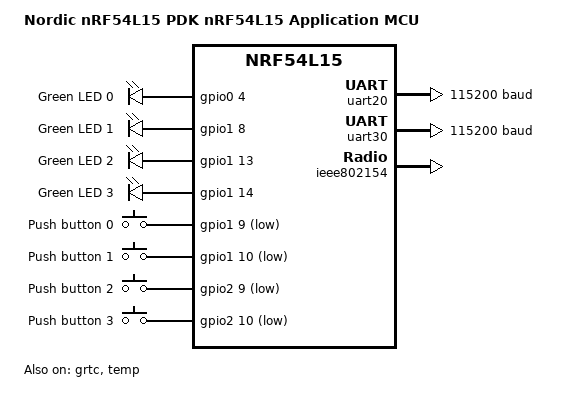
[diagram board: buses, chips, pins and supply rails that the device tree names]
/*
 * Copyright (c) 2024 Nordic Semiconductor ASA
 *
 * SPDX-License-Identifier: Apache-2.0
 */

/dts-v1/;
#include <zephyr/dt-bindings/input/input-event-codes.h>
#include <nordic/nrf54l15_cpuapp.dtsi>
#include "nrf54l15pdk_nrf54l15-pinctrl.dtsi"

/ {
	compatible = "nordic,nrf54l15pdk_nrf54l15-cpuapp";
	model = "Nordic nRF54L15 PDK nRF54L15 Application MCU";

	chosen {
		zephyr,console = &uart20;
		zephyr,shell-uart = &uart20;
		zephyr,uart-mcumgr = &uart20;
		zephyr,flash-controller = &rram_controller;
		zephyr,flash = &cpuapp_rram;
		zephyr,code-partition = &slot0_partition;
		zephyr,sram = &cpuapp_sram;
		zephyr,ieee802154 = &ieee802154;
	};

	aliases {
		led0 = &led0;
		led1 = &led1;
		led2 = &led2;
		led3 = &led3;
		watchdog0 = &wdt30;
		sw0 = &button0;
		sw1 = &button1;
		sw2 = &button2;
		sw3 = &button3;
	};

	leds {
		compatible = "gpio-leds";
		led0: led_0 {
			gpios = <&gpio0 4 GPIO_ACTIVE_HIGH>;
			label = "Green LED 0";
		};
		led1: led_1 {
			gpios = <&gpio1 8 GPIO_ACTIVE_HIGH>;
			label = "Green LED 1";
		};
		led2: led_2 {
			gpios = <&gpio1 13 GPIO_ACTIVE_HIGH>;
			label = "Green LED 2";
		};
		led3: led_3 {
			gpios = <&gpio1 14 GPIO_ACTIVE_HIGH>;
			label = "Green LED 3";
		};
	};

	buttons {
		compatible = "gpio-keys";
		button0: button_0 {
			gpios = <&gpio1 9 (GPIO_PULL_UP | GPIO_ACTIVE_LOW)>;
			label = "Push button 0";
			zephyr,code = <INPUT_KEY_0>;
		};
		button1: button_1 {
			gpios = <&gpio1 10 (GPIO_PULL_UP | GPIO_ACTIVE_LOW)>;
			label = "Push button 1";
			zephyr,code = <INPUT_KEY_1>;
		};
		button2: button_2 {
			gpios = <&gpio2 9 (GPIO_PULL_UP | GPIO_ACTIVE_LOW)>;
			label = "Push button 2";
			zephyr,code = <INPUT_KEY_2>;
		};
		button3: button_3 {
			gpios = <&gpio2 10 (GPIO_PULL_UP | GPIO_ACTIVE_LOW)>;
			label = "Push button 3";
			zephyr,code = <INPUT_KEY_3>;
		};
	};
};

&cpuapp_sram {
	status = "okay";
};

&cpuflpr_vpr {
 	execution-memory = <&cpuflpr_code_partition>;
};

&lfxo {
	load-capacitors = "internal";
	load-capacitance-femtofarad = <15500>;
};

&hfxo {
	load-capacitors = "internal";
	load-capacitance-femtofarad = <15000>;
};

&uart20 {
	status = "okay";
	current-speed = <115200>;
	pinctrl-0 = <&uart20_default>;
	pinctrl-1 = <&uart20_sleep>;
	pinctrl-names = "default", "sleep";
};

&uart30 {
	current-speed = <115200>;
	pinctrl-0 = <&uart30_default>;
	pinctrl-1 = <&uart30_sleep>;
	pinctrl-names = "default", "sleep";
};

&grtc {
	owned-channels = <0 1 2 3 4 5 6 7 8 9 10 11>;
	child-owned-channels = <3 4 7 8 9 10 11>; /* Channels 7-11 reserved for MPSL, 3-4 for FLPR */
	status = "okay";
};

&gpio0 {
	status = "okay";
};

&gpio1 {
	status = "okay";
};

&gpio2 {
	status = "okay";
};

&gpiote20 {
	status = "okay";
};

&gpiote30 {
	status = "okay";
};

&ieee802154 {
	status = "okay";
};

&temp {
	status = "okay";
};

&cpuapp_rram {
	partitions {
		compatible = "fixed-partitions";
		#address-cells = <1>;
		#size-cells = <1>;
		boot_partition: partition@0 {
			label = "mcuboot";
			reg = <0x0 DT_SIZE_K(64)>;
		};
		slot0_partition: partition@10000 {
			label = "image-0";
			reg = <0x10000 DT_SIZE_K(328)>;
		};
		slot0_ns_partition: partition@62000 {
			label = "image-0-nonsecure";
			reg = <0x62000 DT_SIZE_K(328)>;
		};
		slot1_partition: partition@b4000 {
			label = "image-1";
			reg = <0xb4000 DT_SIZE_K(328)>;
		};
		slot1_ns_partition: partition@106000 {
			label = "image-1-nonsecure";
			reg = <0x106000 DT_SIZE_K(328)>;
		};
		/* 32k from 0x158000 to 0x15ffff reserved for TF-M partitions */
		storage_partition: partition@160000 {
			label = "storage";
			reg = <0x160000 DT_SIZE_K(36)>;
		};
		/* 80k from 0x169000 to 0x17cfff reserved for FLPR core code partition */
	};

	reserved-memory {
		#address-cells = <1>;
		#size-cells = <1>;
		cpuflpr_code_partition: image@169000 {
			/* FLPR core code partition */
			reg = <0x169000 DT_SIZE_K(80)>;
		};
	};
};

&clock {
	status = "okay";
};
